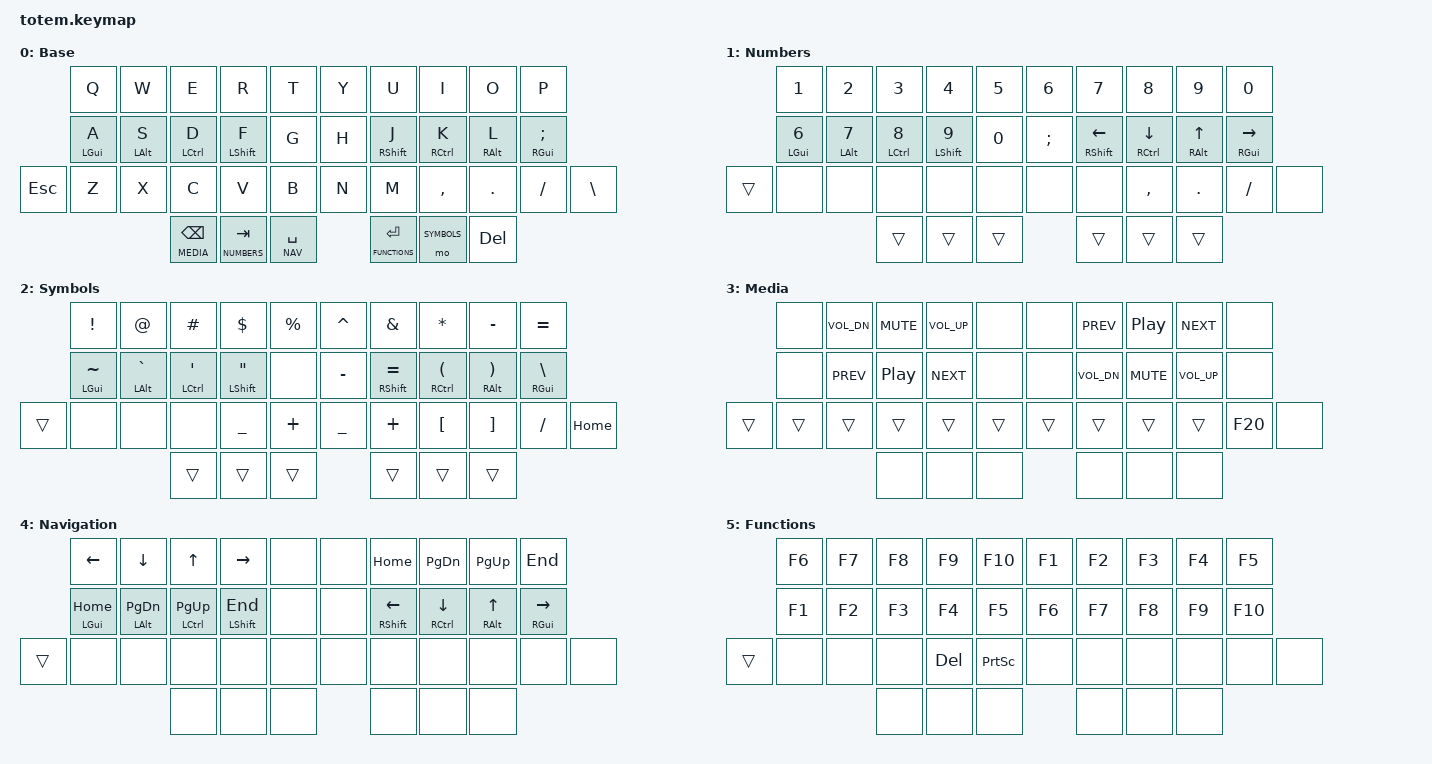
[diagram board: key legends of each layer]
//
//                                                        ▀▀▀▀▀     ▀▀▀▀▀          ▀▀█▀▀
//                                                        ▄▀▀▀▄  ▄  ▄▀▀▀▄  ▄  ▄▀▀▀▄  █  ▄▀▀▀▄
//                                                        █   █  █  █   █  █  █   █  █  █   █
//                                                         ▀▀▀   █   ▀▀▀   █   ▀▀▀   ▀   ▀▀▀
//                                                               █      ▄▄▄█▄▄▄    █   █  
//                                                               ▀      █  █  █     █▄█
//                                                             ▀▀▀▀▀    █  █  █      ▀
//                                                                      ▀  ▀  ▀
//
// ▄▄▄▄▄▄▄▄▄▄▄▄▄▄▄▄▄▄▄▄▄▄▄▄▄▄▄▄▄▄▄▄▄▄▄▄▄▄▄▄▄▄▄▄▄▄▄▄▄▄▄▄▄▄▄▄▄▄▄▄▄▄▄▄▄▄▄▄▄▄▄▄▄▄▄▄▄▄▄▄▄▄▄▄▄▄▄▄▄▄▄▄▄▄▄▄▄▄▄▄▄▄▄▄▄▄▄▄▄▄▄▄▄▄▄▄▄▄▄▄▄▄▄▄▄▄▄▄▄▄▄▄▄▄▄▄▄▄▄▄▄▄▄▄▄▄▄▄▄

#include <behaviors.dtsi>
#include <dt-bindings/zmk/keys.h>
#define BASE        0
#define NUMBERS     1
#define SYMBOLS     2
#define MEDIA       3
#define NAV         4
#define FUNCTIONS   5

&lt {
     tapping-term-ms = <200>;
     quick_tap_ms = <200>;
};

/ {
behaviors {
    hm: homerow_mods {
      compatible = "zmk,behavior-hold-tap";
      label = "HOMEROW_MODS";
      #binding-cells = <2>;
      tapping-term-ms = <200>;
      quick_tap_ms = <200>;
      require-prior-idle-ms = <125>;
      flavor = "tap-preferred";
      bindings = <&kp>, <&kp>;
    };
  }; 
  keymap {
        compatible = "zmk,keymap";

        Base {
            bindings = <
              &kp Q       &kp W       &kp E          &kp R         &kp T        &kp Y        &kp U          &kp I          &kp O          &kp P
              &hm LGUI A  &hm LALT S  &hm LCTRL D    &hm LSHFT F   &kp G        &kp H        &hm RSHFT J    &hm RCTRL K    &hm RALT L     &hm RGUI SEMICOLON 
&kp ESCAPE    &kp Z       &kp X       &kp C          &kp V         &kp B        &kp N        &kp M          &kp COMMA      &kp PERIOD     &kp SLASH           &kp BACKSLASH 
                                     &lt MEDIA BACKSPACE &lt NUMBERS TAB &lt NAV SPACE  &lt FUNCTIONS RETURN &mo SYMBOLS &kp  DEL 
            >;
        };

        Numbers {
            bindings = <
              &kp NUMBER_1       &kp NUMBER_2      &kp NUMBER_3       &kp NUMBER_4       &kp NUMBER_5 &kp NUMBER_6  &kp NUMBER_7   &kp NUMBER_8   &kp NUMBER_9 &kp NUMBER_0 
              &hm LGUI NUMBER_6  &hm LALT NUMBER_7 &hm LCTRL NUMBER_8 &hm LSHFT NUMBER_9 &kp NUMBER_0 &kp SEMICOLON &hm RSHFT LEFT &hm RCTRL DOWN &hm RALT UP  &hm RGUI RIGHT
&trans        &none              &none             &none              &none              &none        &none         &none          &kp COMMA      &kp PERIOD   &kp SLASH      &none
                                         &trans        &trans     &trans      &trans    &trans        &trans
            >;
        };

        Symbols {
            bindings = <
        &kp EXCLAMATION  &kp AT          &kp HASH      &kp DOLLAR     &kp PERCENT  &kp CARET      &kp AMPS         &kp ASTERISK    &kp MINUS      &kp EQUAL
        &hm LGUI TILDE   &hm LALT GRAVE  &hm LCTRL SQT &hm LSHFT DQT  &none        &kp MINUS      &hm RSHFT EQUAL  &hm RCTRL LPAR  &hm RALT RPAR  &hm RGUI BACKSLASH
&trans  &none            &none           &none         &kp UNDERSCORE &kp PLUS     &kp UNDERSCORE &kp PLUS         &kp LBKT        &kp RBKT       &kp SLASH            &kp HOME
                          &trans    &trans      &trans         &trans     &trans         &trans
            >;
        };

        Media {
            bindings = <
        &none     &kp C_VOL_DN  &kp C_MUTE &kp C_VOL_UP &none     &none   &kp C_PREV    &kp C_PP    &kp C_NEXT    &none 
        &none     &kp C_PREV    &kp C_PP   &kp C_NEXT   &none     &none   &kp C_VOL_DN  &kp C_MUTE  &kp C_VOL_UP  &none
&trans  &trans    &trans        &trans     &trans       &trans    &trans  &trans        &trans      &trans        &kp F20  &none
                             &none &none &none &none &none &none
            >;
        };

        Navigation {
            bindings = <
            &kp LEFT       &kp DOWN            &kp UP            &kp RIGHT     &none  &none  &kp HOME       &kp PAGE_DOWN  &kp PAGE_UP &kp END
            &hm LGUI HOME  &hm LALT PAGE_DOWN  &hm LCTRL PAGE_UP &hm LSHFT END &none  &none  &hm RSHFT LEFT &hm RCTRL DOWN &hm RALT UP &hm RGUI RIGHT
   &trans   &none          &none               &none             &none         &none  &none  &none          &none          &none       &none           &none
                           &none &none &none &none &none &none             
            >;
        };

     Functions {
       bindings = <
       &kp F6 &kp F7 &kp F8 &kp F9  &kp F10          &kp F1 &kp F2 &kp F3 &kp F4 &kp F5
       &kp F1 &kp F2 &kp F3 &kp F4  &kp F5           &kp F6 &kp F7 &kp F8 &kp F9 &kp F10  
&trans &none  &none  &none  &kp DEL &kp PRINTSCREEN  &none  &none  &none  &none  &none    &none
       &none &none &none  &none &none &none 
      >;
    };
  };
};
